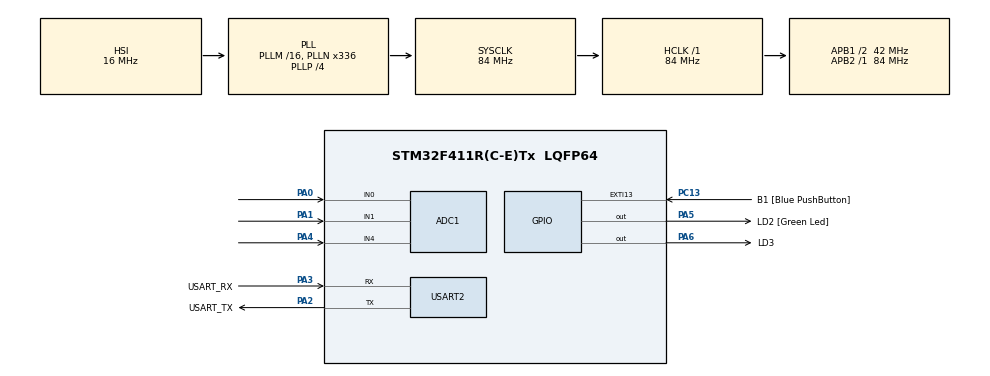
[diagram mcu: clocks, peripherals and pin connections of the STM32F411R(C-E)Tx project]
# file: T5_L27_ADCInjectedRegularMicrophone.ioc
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ADC1.Channel-0\#ChannelRegularConversion=ADC_CHANNEL_0
ADC1.Channel-2\#ChannelInjectedConversion=ADC_CHANNEL_4
ADC1.Channel-3\#ChannelRegularConversion=ADC_CHANNEL_1
ADC1.ClockPrescaler=ADC_CLOCK_SYNC_PCLK_DIV8
ADC1.ContinuousConvMode=ENABLE
ADC1.DMAContinuousRequests=ENABLE
ADC1.ExternalTrigConv=ADC_EXTERNALTRIGCONV_T2_TRGO
ADC1.ExternalTrigInjecConv=ADC_EXTERNALTRIGINJECCONV_T4_TRGO
ADC1.InjNumberOfConversion=1
ADC1.InjectedOffset-2\#ChannelInjectedConversion=0
ADC1.InjectedRank-2\#ChannelInjectedConversion=1
ADC1.NbrOfConversion=2
ADC1.NbrOfConversionFlag=1
ADC1.Rank-0\#ChannelRegularConversion=1
ADC1.Rank-3\#ChannelRegularConversion=2
ADC1.SamplingTime-0\#ChannelRegularConversion=ADC_SAMPLETIME_3CYCLES
ADC1.SamplingTime-2\#ChannelInjectedConversion=ADC_SAMPLETIME_3CYCLES
ADC1.SamplingTime-3\#ChannelRegularConversion=ADC_SAMPLETIME_3CYCLES
ADC1.master=1
Dma.ADC1.0.Direction=DMA_PERIPH_TO_MEMORY
Dma.ADC1.0.FIFOMode=DMA_FIFOMODE_DISABLE
Dma.ADC1.0.Instance=DMA2_Stream0
Dma.ADC1.0.MemDataAlignment=DMA_MDATAALIGN_HALFWORD
Dma.ADC1.0.MemInc=DMA_MINC_ENABLE
Dma.ADC1.0.Mode=DMA_CIRCULAR
Dma.ADC1.0.PeriphDataAlignment=DMA_PDATAALIGN_HALFWORD
Dma.ADC1.0.PeriphInc=DMA_PINC_DISABLE
Dma.ADC1.0.Priority=DMA_PRIORITY_LOW
Dma.Request0=ADC1
Mcu.Family=STM32F4
Mcu.Name=STM32F411R(C-E)Tx
Mcu.Package=LQFP64
NVIC.ADC_IRQn=true\:0\:0\:false\:true\:true\:1\:true\:true
NVIC.DMA2_Stream0_IRQn=true\:0\:0\:false\:false\:true\:false\:true
NVIC.PriorityGroup=NVIC_PRIORITYGROUP_0
PA0-WKUP.Signal=ADCx_IN0
PA1.Signal=ADCx_IN1
PA13.GPIO_Label=TMS
PA13.Mode=Serial_Wire
PA13.Signal=SYS_JTMS-SWDIO
PA14.GPIO_Label=TCK
PA14.Mode=Serial_Wire
PA14.Signal=SYS_JTCK-SWCLK
PA2.GPIO_Label=USART_TX
PA2.Mode=Asynchronous
PA2.Signal=USART2_TX
PA3.GPIO_Label=USART_RX
PA3.Mode=Asynchronous
PA3.Signal=USART2_RX
PA4.Signal=ADCx_IN4
PA5.GPIO_Label=LD2 [Green Led]
PA5.Signal=GPIO_Output
PA6.GPIO_Label=LD3
PA6.Signal=GPIO_Output
PB3.GPIO_Label=SWO
PB3.Signal=SYS_JTDO-SWO
PC13-ANTI_TAMP.GPIO_Label=B1 [Blue PushButton]
PC13-ANTI_TAMP.GPIO_ModeDefaultEXTI=GPIO_MODE_IT_FALLING
PC13-ANTI_TAMP.Signal=GPXTI13
PC14-OSC32_IN.Mode=LSE-External-Oscillator
PC14-OSC32_IN.Signal=RCC_OSC32_IN
PC15-OSC32_OUT.Mode=LSE-External-Oscillator
PC15-OSC32_OUT.Signal=RCC_OSC32_OUT
PH0\ -\ OSC_IN.Mode=HSE-External-Clock-Source
PH0\ -\ OSC_IN.Signal=RCC_OSC_IN
PH1\ -\ OSC_OUT.Mode=HSE-External-Clock-Source
PH1\ -\ OSC_OUT.Signal=RCC_OSC_OUT
ProjectManager.HeapSize=0x200
ProjectManager.StackSize=0x400
ProjectManager.TargetToolchain=STM32CubeIDE
RCC.48MHZClocksFreq_Value=84000000
RCC.AHBFreq_Value=84000000
RCC.APB1CLKDivider=RCC_HCLK_DIV2
RCC.APB1Freq_Value=42000000
RCC.APB1TimFreq_Value=84000000
RCC.APB2Freq_Value=84000000
RCC.APB2TimFreq_Value=84000000
RCC.CortexFreq_Value=84000000
RCC.FLatency-AdvancedSettings=FLASH_LATENCY_2
RCC.HCLKFreq_Value=84000000
RCC.HSE_VALUE=8000000
RCC.HSI_VALUE=16000000
RCC.PLLN=336
RCC.PLLP=RCC_PLLP_DIV4
RCC.SYSCLKFreq_VALUE=84000000
RCC.SYSCLKSource=RCC_SYSCLKSOURCE_PLLCLK
RCC.VCOOutputFreq_Value=336000000
SH.ADCx_IN0.0=ADC1_IN0,IN0
SH.ADCx_IN1.0=ADC1_IN1,IN1
SH.ADCx_IN4.0=ADC1_IN4,IN4
TIM2.Period=999
TIM2.Prescaler=839
TIM2.TIM_MasterOutputTrigger=TIM_TRGO_UPDATE
TIM4.Period=634
TIM4.Prescaler=2
TIM4.TIM_MasterOutputTrigger=TIM_TRGO_UPDATE
USART2.VirtualMode=VM_ASYNC
VP_TIM2_VS_ClockSourceINT.Mode=Internal
VP_TIM4_VS_ClockSourceINT.Mode=Internal
board=NUCLEO-F411RE

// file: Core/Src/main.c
/* USER CODE BEGIN Header */
/**
  ******************************************************************************
  * @file           : main.c
  * @brief          : Main program body
  ******************************************************************************
  * @attention
  *
  * <h2><center>&copy; Copyright (c) 2022 STMicroelectronics.
  * All rights reserved.</center></h2>
  *
  * This software component is licensed by ST under BSD 3-Clause license,
  * the "License"; You may not use this file except in compliance with the
  * License. You may obtain a copy of the License at:
  *                        opensource.org/licenses/BSD-3-Clause
  *
  ******************************************************************************
  */
/* USER CODE END Header */
#include "main.h"
#include "adc.h"
#include "dma.h"
#include "tim.h"
#include "usart.h"
#include "gpio.h"

/* USER CODE BEGIN PV */
uint16_t AdcRegular[2];
uint16_t AdcInjected[64];
/* USER CODE END PV */

void SystemClock_Config(void);
static void MX_NVIC_Init(void);

int main(void)
{

  /* MCU Configuration--------------------------------------------------------*/

  /* Reset of all peripherals, Initializes the Flash interface and the Systick. */
  HAL_Init();

  /* Configure the system clock */
  SystemClock_Config();

  /* Initialize all configured peripherals */
  MX_GPIO_Init();
  MX_USART2_UART_Init();
  MX_DMA_Init();
  MX_ADC1_Init();
  MX_TIM2_Init();
  MX_TIM4_Init();

  /* Initialize interrupts */
  MX_NVIC_Init();
  /* USER CODE BEGIN 2 */
  HAL_TIM_Base_Start(&htim2);
  HAL_ADC_Start_DMA(&hadc1,(uint32_t*)&AdcRegular,2);

  HAL_TIM_Base_Start(&htim4);
  HAL_ADCEx_InjectedStart_IT(&hadc1);
  /* USER CODE END 2 */

  /* Infinite loop */
  while (1)
  {

  }
}

void SystemClock_Config(void)
{
  RCC_OscInitTypeDef RCC_OscInitStruct = {0};
  RCC_ClkInitTypeDef RCC_ClkInitStruct = {0};

  /** Configure the main internal regulator output voltage
  */
  __HAL_RCC_PWR_CLK_ENABLE();
  __HAL_PWR_VOLTAGESCALING_CONFIG(PWR_REGULATOR_VOLTAGE_SCALE1);
  /** Initializes the RCC Oscillators according to the specified parameters
  * in the RCC_OscInitTypeDef structure.
  */
  RCC_OscInitStruct.OscillatorType = RCC_OSCILLATORTYPE_HSI;
  RCC_OscInitStruct.HSIState = RCC_HSI_ON;
  RCC_OscInitStruct.HSICalibrationValue = RCC_HSICALIBRATION_DEFAULT;
  RCC_OscInitStruct.PLL.PLLState = RCC_PLL_ON;
  RCC_OscInitStruct.PLL.PLLSource = RCC_PLLSOURCE_HSI;
  RCC_OscInitStruct.PLL.PLLM = 16;
  RCC_OscInitStruct.PLL.PLLN = 336;
  RCC_OscInitStruct.PLL.PLLP = RCC_PLLP_DIV4;
  RCC_OscInitStruct.PLL.PLLQ = 4;
  if (HAL_RCC_OscConfig(&RCC_OscInitStruct) != HAL_OK)
  {
    Error_Handler();
  }
  /** Initializes the CPU, AHB and APB buses clocks
  */
  RCC_ClkInitStruct.ClockType = RCC_CLOCKTYPE_HCLK|RCC_CLOCKTYPE_SYSCLK
                              |RCC_CLOCKTYPE_PCLK1|RCC_CLOCKTYPE_PCLK2;
  RCC_ClkInitStruct.SYSCLKSource = RCC_SYSCLKSOURCE_PLLCLK;
  RCC_ClkInitStruct.AHBCLKDivider = RCC_SYSCLK_DIV1;
  RCC_ClkInitStruct.APB1CLKDivider = RCC_HCLK_DIV2;
  RCC_ClkInitStruct.APB2CLKDivider = RCC_HCLK_DIV1;

  if (HAL_RCC_ClockConfig(&RCC_ClkInitStruct, FLASH_LATENCY_2) != HAL_OK)
  {
    Error_Handler();
  }
}

/**
  * @brief NVIC Configuration.
  * @retval None
  */
static void MX_NVIC_Init(void)
{
  /* ADC_IRQn interrupt configuration */
  HAL_NVIC_SetPriority(ADC_IRQn, 0, 0);
  HAL_NVIC_EnableIRQ(ADC_IRQn);
}

/* USER CODE BEGIN 4 */
void HAL_ADC_ConvCpltCallback(ADC_HandleTypeDef* hadc)
{
	if(hadc -> Instance == ADC1)
	{
		HAL_GPIO_TogglePin(LD2_GPIO_Port,LD2_Pin);
	}
}
void HAL_ADCEx_InjectedConvCpltCallback(ADC_HandleTypeDef* hadc)
{
	static uint8_t i = 0;
	if(hadc -> Instance == ADC1)
	{
		HAL_GPIO_TogglePin(LD3_GPIO_Port,LD3_Pin);
		AdcInjected[i] = HAL_ADCEx_InjectedGetValue(&hadc1, ADC_INJECTED_RANK_1);
		i = (i+1) % 64;
		//HAL_ADCEx_InjectedStart_IT(&hadc1);
	}
}
/* USER CODE END 4 */

void Error_Handler(void)
{
  __disable_irq();
  while (1)
  {
  }
}

/************************ (C) COPYRIGHT STMicroelectronics *****END OF FILE****/
